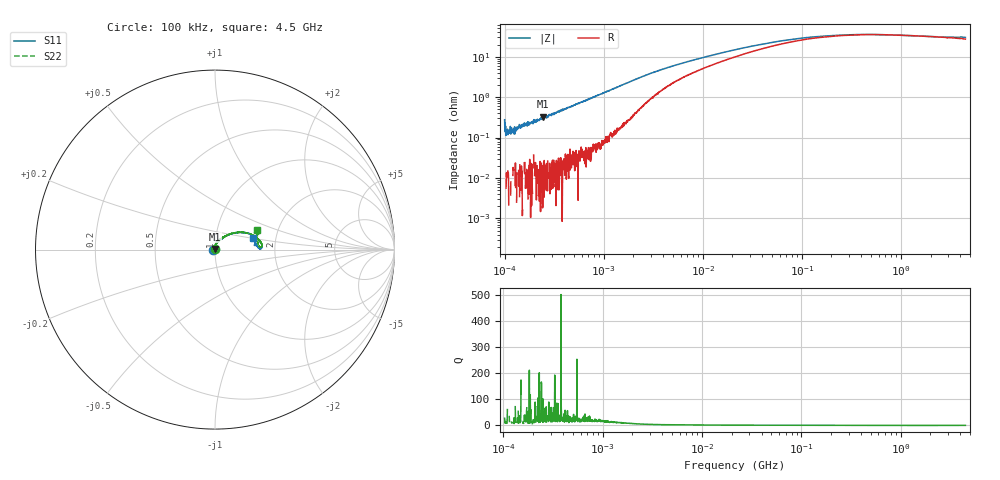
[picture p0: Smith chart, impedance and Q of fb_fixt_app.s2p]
!Keysight Technologies,E5080A,MY55200853,A.11.70.00
!Date: Tuesday, July 02, 2024 14:56:11
!Correction: S11(Full 2 Port(1,2))
!S21(Full 2 Port(1,2))
!S12(Full 2 Port(1,2))
!S22(Full 2 Port(1,2))
!S2P File: Measurements: S11, S21, S12, S22:Log Frequency Sweep
# Hz S  RI  R 50
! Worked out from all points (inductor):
!   2001 points, 100 kHz to 4.5 GHz, reference 50 ohm
!   read as one part in series: L = 200 nH near 105.5 kHz
!   highest Q = 71 at 243.3 kHz (marker M1), where L = 217 nH
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100000  -0.0113 -0.00252  0.9952 -0.00577  0.9949 -0.00445  -0.000383 0.00325
106639.8  0.00106 0.00115  0.9998 -0.00114  1 -0.00153  -0.000867 0.00165
108949.6  0.000728 0.000591  0.9999 -0.00151  1 -0.00161  9.4e-06 0.00159
115562.9  -6.47e-05 0.000633  0.9995 -0.00198  0.9991 -0.000864  -0.000989 0.0014
121922.7  0.000973 0.00165  0.9997 -0.0014  1 -0.00118  -0.000412 0.00205
137173.4  0.00173 0.0018  0.9994 -0.00166  0.9996 -0.00176  -0.00273 0.00165
150252.6  -0.000524 0.00188  0.9995 -0.00267  0.9988 -0.00206  -0.00097 0.000715
155994.2  0.000265 0.00181  1 -0.00164  0.9993 -0.00181  -0.000216 0.00282
159373  -0.000803 0.00259  0.9988 -0.00226  0.9995 -0.00157  -0.00035 0.00125
168143.8  -0.000533 0.00124  0.9997 -0.00224  0.9994 -0.00179  -4.27e-05 0.00366
175506.7  0.000168 0.00199  1 -0.00184  0.9993 -0.00198  -0.000651 0.00228
188165.3  -0.000572 0.0014  0.9998 -0.00206  0.9993 -0.00293  0.00036 0.00329
205005.4  -0.00143 0.00257  0.9991 -0.00204  0.9993 -0.00264  0.000862 0.0031
217449.2  1.04e-06 0.00281  0.9995 -0.00282  0.9994 -0.00214  -0.000717 0.00287
243341.8  -0.000426 0.00377  0.9992 -0.00331  0.9992 -0.00323  -0.00102 0.00297
598530.8  0.00129 0.007  0.9998 -0.00778  0.9995 -0.00771  0.000192 0.00811
3563251  0.015 0.0411  0.9853 -0.0437  0.9859 -0.0429  0.0134 0.0427
2.132715e7  0.0998 0.0925  0.9012 -0.0909  0.9005 -0.0905  0.1001 0.0902
1.269676e8  0.2266 0.0694  0.7733 -0.0697  0.7726 -0.0694  0.2284 0.0705
7.558796e8  0.2582 0.00984  0.7422 -0.00905  0.7418 -0.00835  0.2579 0.0144
2.080565e9  0.2389 0.0127  0.761 -0.0162  0.7608 -0.0157  0.2397 0.0286
4.5e9  0.2118 0.067  0.779 -0.0691  0.7781 -0.0683  0.2323 0.1105
